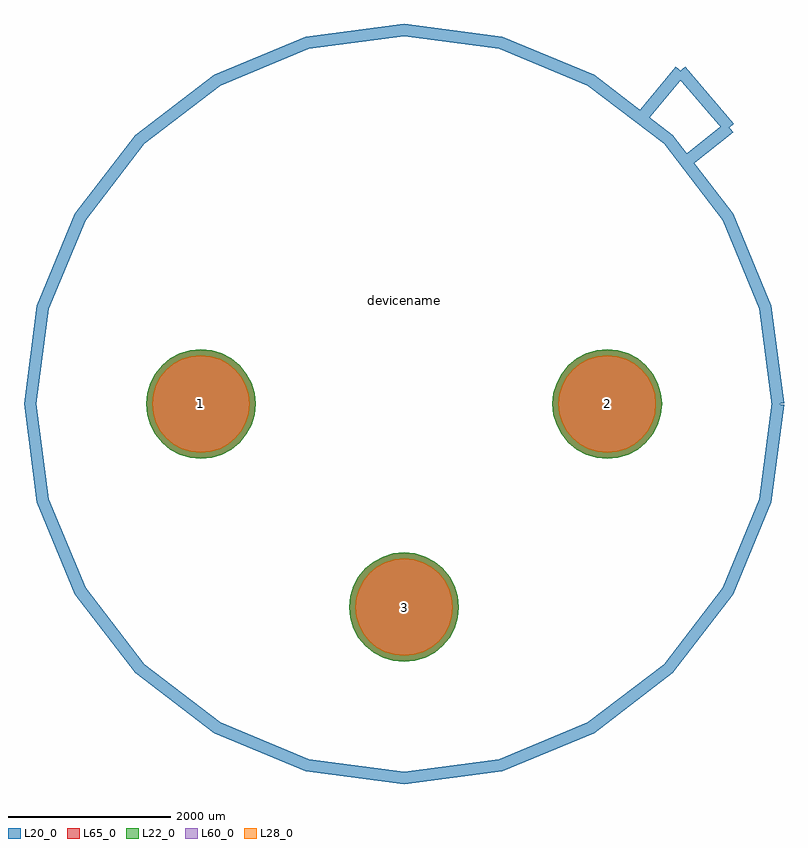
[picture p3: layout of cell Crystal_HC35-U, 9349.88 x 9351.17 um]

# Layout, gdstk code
import gdstk
lib = gdstk.Library(unit=1e-6, precision=1e-09)
def P(c, l, *ps):  # polygons
    for p in ps: c.add(gdstk.Polygon(p, *l))
L20_0 = (20, 0)
L22_0 = (22, 0)
L28_0 = (28, 0)
L60_0 = (60, 0)
L65_0 = (65, 0)

crystal_hc35_u = lib.new_cell('Crystal_HC35-U')
P(crystal_hc35_u, L22_0, [(674.44,-2499.36),(661.481,-2367.783),(623.101,-2241.263),(560.776,-2124.661),(476.901,-2022.459),(374.699,-1938.584),(258.097,-1876.259),(131.577,-1837.879),(0,-1824.92),(-131.577,-1837.879),(-258.097,-1876.259),(-374.699,-1938.584),(-476.901,-2022.459),(-560.776,-2124.661),(-623.101,-2241.263),(-661.481,-2367.783),(-674.44,-2499.36),(-661.481,-2630.937),(-623.101,-2757.457),(-560.776,-2874.059),(-476.901,-2976.261),(-374.699,-3060.136),(-258.097,-3122.461),(-131.577,-3160.841),(0,-3173.8),(131.577,-3160.841),(258.097,-3122.461),(374.699,-3060.136),(476.901,-2976.261),(560.776,-2874.059),(623.101,-2757.457),(661.481,-2630.937)],
  [(3173.8,0),(3160.841,131.577),(3122.461,258.097),(3060.136,374.699),(2976.261,476.901),(2874.059,560.776),(2757.457,623.101),(2630.937,661.481),(2499.36,674.44),(2367.783,661.481),(2241.263,623.101),(2124.661,560.776),(2022.459,476.901),(1938.584,374.699),(1876.259,258.097),(1837.879,131.577),(1824.92,0),(1837.879,-131.577),(1876.259,-258.097),(1938.584,-374.699),(2022.459,-476.901),(2124.661,-560.776),(2241.263,-623.101),(2367.783,-661.481),(2499.36,-674.44),(2630.937,-661.481),(2757.457,-623.101),(2874.059,-560.776),(2976.261,-476.901),(3060.136,-374.699),(3122.461,-258.097),(3160.841,-131.577)],
  [(-1824.92,0),(-1837.879,131.577),(-1876.259,258.097),(-1938.584,374.699),(-2022.459,476.901),(-2124.661,560.776),(-2241.263,623.101),(-2367.783,661.481),(-2499.36,674.44),(-2630.937,661.481),(-2757.457,623.101),(-2874.059,560.776),(-2976.261,476.901),(-3060.136,374.699),(-3122.461,258.097),(-3160.841,131.577),(-3173.8,0),(-3160.841,-131.577),(-3122.461,-258.097),(-3060.136,-374.699),(-2976.261,-476.901),(-2874.059,-560.776),(-2757.457,-623.101),(-2630.937,-661.481),(-2499.36,-674.44),(-2367.783,-661.481),(-2241.263,-623.101),(-2124.661,-560.776),(-2022.459,-476.901),(-1938.584,-374.699),(-1876.259,-258.097),(-1837.879,-131.577)])
P(crystal_hc35_u, L28_0, [(599.44,-2499.36),(587.922,-2382.415),(553.81,-2269.964),(498.416,-2166.329),(423.868,-2075.492),(333.031,-2000.944),(229.396,-1945.55),(116.945,-1911.438),(0,-1899.92),(-116.945,-1911.438),(-229.396,-1945.55),(-333.031,-2000.944),(-423.868,-2075.492),(-498.416,-2166.329),(-553.81,-2269.964),(-587.922,-2382.415),(-599.44,-2499.36),(-587.922,-2616.305),(-553.81,-2728.756),(-498.416,-2832.391),(-423.868,-2923.228),(-333.031,-2997.776),(-229.396,-3053.17),(-116.945,-3087.282),(0,-3098.8),(116.945,-3087.282),(229.396,-3053.17),(333.031,-2997.776),(423.868,-2923.228),(498.416,-2832.391),(553.81,-2728.756),(587.922,-2616.305)],
  [(3098.8,0),(3087.282,116.945),(3053.17,229.396),(2997.776,333.031),(2923.228,423.868),(2832.391,498.416),(2728.756,553.81),(2616.305,587.922),(2499.36,599.44),(2382.415,587.922),(2269.964,553.81),(2166.329,498.416),(2075.492,423.868),(2000.944,333.031),(1945.55,229.396),(1911.438,116.945),(1899.92,0),(1911.438,-116.945),(1945.55,-229.396),(2000.944,-333.031),(2075.492,-423.868),(2166.329,-498.416),(2269.964,-553.81),(2382.415,-587.922),(2499.36,-599.44),(2616.305,-587.922),(2728.756,-553.81),(2832.391,-498.416),(2923.228,-423.868),(2997.776,-333.031),(3053.17,-229.396),(3087.282,-116.945)],
  [(-1899.92,0),(-1911.438,116.945),(-1945.55,229.396),(-2000.944,333.031),(-2075.492,423.868),(-2166.329,498.416),(-2269.964,553.81),(-2382.415,587.922),(-2499.36,599.44),(-2616.305,587.922),(-2728.756,553.81),(-2832.391,498.416),(-2923.228,423.868),(-2997.776,333.031),(-3053.17,229.396),(-3087.282,116.945),(-3098.8,0),(-3087.282,-116.945),(-3053.17,-229.396),(-2997.776,-333.031),(-2923.228,-423.868),(-2832.391,-498.416),(-2728.756,-553.81),(-2616.305,-587.922),(-2499.36,-599.44),(-2382.415,-587.922),(-2269.964,-553.81),(-2166.329,-498.416),(-2075.492,-423.868),(-2000.944,-333.031),(-1945.55,-229.396),(-1911.438,-116.945)])
P(crystal_hc35_u, L60_0, [(599.44,-2499.36),(587.922,-2382.415),(553.81,-2269.964),(498.416,-2166.329),(423.868,-2075.492),(333.031,-2000.944),(229.396,-1945.55),(116.945,-1911.438),(0,-1899.92),(-116.945,-1911.438),(-229.396,-1945.55),(-333.031,-2000.944),(-423.868,-2075.492),(-498.416,-2166.329),(-553.81,-2269.964),(-587.922,-2382.415),(-599.44,-2499.36),(-587.922,-2616.305),(-553.81,-2728.756),(-498.416,-2832.391),(-423.868,-2923.228),(-333.031,-2997.776),(-229.396,-3053.17),(-116.945,-3087.282),(0,-3098.8),(116.945,-3087.282),(229.396,-3053.17),(333.031,-2997.776),(423.868,-2923.228),(498.416,-2832.391),(553.81,-2728.756),(587.922,-2616.305)],
  [(3098.8,0),(3087.282,116.945),(3053.17,229.396),(2997.776,333.031),(2923.228,423.868),(2832.391,498.416),(2728.756,553.81),(2616.305,587.922),(2499.36,599.44),(2382.415,587.922),(2269.964,553.81),(2166.329,498.416),(2075.492,423.868),(2000.944,333.031),(1945.55,229.396),(1911.438,116.945),(1899.92,0),(1911.438,-116.945),(1945.55,-229.396),(2000.944,-333.031),(2075.492,-423.868),(2166.329,-498.416),(2269.964,-553.81),(2382.415,-587.922),(2499.36,-599.44),(2616.305,-587.922),(2728.756,-553.81),(2832.391,-498.416),(2923.228,-423.868),(2997.776,-333.031),(3053.17,-229.396),(3087.282,-116.945)],
  [(-1899.92,0),(-1911.438,116.945),(-1945.55,229.396),(-2000.944,333.031),(-2075.492,423.868),(-2166.329,498.416),(-2269.964,553.81),(-2382.415,587.922),(-2499.36,599.44),(-2616.305,587.922),(-2728.756,553.81),(-2832.391,498.416),(-2923.228,423.868),(-2997.776,333.031),(-3053.17,229.396),(-3087.282,116.945),(-3098.8,0),(-3087.282,-116.945),(-3053.17,-229.396),(-2997.776,-333.031),(-2923.228,-423.868),(-2832.391,-498.416),(-2728.756,-553.81),(-2616.305,-587.922),(-2499.36,-599.44),(-2382.415,-587.922),(-2269.964,-553.81),(-2166.329,-498.416),(-2075.492,-423.868),(-2000.944,-333.031),(-1945.55,-229.396),(-1911.438,-116.945)])
P(crystal_hc35_u, L65_0, [(674.44,-2499.36),(661.481,-2367.783),(623.101,-2241.263),(560.776,-2124.661),(476.901,-2022.459),(374.699,-1938.584),(258.097,-1876.259),(131.577,-1837.879),(0,-1824.92),(-131.577,-1837.879),(-258.097,-1876.259),(-374.699,-1938.584),(-476.901,-2022.459),(-560.776,-2124.661),(-623.101,-2241.263),(-661.481,-2367.783),(-674.44,-2499.36),(-661.481,-2630.937),(-623.101,-2757.457),(-560.776,-2874.059),(-476.901,-2976.261),(-374.699,-3060.136),(-258.097,-3122.461),(-131.577,-3160.841),(0,-3173.8),(131.577,-3160.841),(258.097,-3122.461),(374.699,-3060.136),(476.901,-2976.261),(560.776,-2874.059),(623.101,-2757.457),(661.481,-2630.937)],
  [(3173.8,0),(3160.841,131.577),(3122.461,258.097),(3060.136,374.699),(2976.261,476.901),(2874.059,560.776),(2757.457,623.101),(2630.937,661.481),(2499.36,674.44),(2367.783,661.481),(2241.263,623.101),(2124.661,560.776),(2022.459,476.901),(1938.584,374.699),(1876.259,258.097),(1837.879,131.577),(1824.92,0),(1837.879,-131.577),(1876.259,-258.097),(1938.584,-374.699),(2022.459,-476.901),(2124.661,-560.776),(2241.263,-623.101),(2367.783,-661.481),(2499.36,-674.44),(2630.937,-661.481),(2757.457,-623.101),(2874.059,-560.776),(2976.261,-476.901),(3060.136,-374.699),(3122.461,-258.097),(3160.841,-131.577)],
  [(-1824.92,0),(-1837.879,131.577),(-1876.259,258.097),(-1938.584,374.699),(-2022.459,476.901),(-2124.661,560.776),(-2241.263,623.101),(-2367.783,661.481),(-2499.36,674.44),(-2630.937,661.481),(-2757.457,623.101),(-2874.059,560.776),(-2976.261,476.901),(-3060.136,374.699),(-3122.461,258.097),(-3160.841,131.577),(-3173.8,0),(-3160.841,-131.577),(-3122.461,-258.097),(-3060.136,-374.699),(-2976.261,-476.901),(-2874.059,-560.776),(-2757.457,-623.101),(-2630.937,-661.481),(-2499.36,-674.44),(-2367.783,-661.481),(-2241.263,-623.101),(-2124.661,-560.776),(-2022.459,-476.901),(-1938.584,-374.699),(-1876.259,-258.097),(-1837.879,-131.577)])
crystal_hc35_u.add(gdstk.FlexPath([(4599.94,0),(4443.201,1190.552),(3983.665,2299.97),(3252.649,3252.649),(2299.97,3983.665),(1190.552,4443.201),(0,4599.94),(-1190.552,4443.201),(-2299.97,3983.665),(-3252.649,3252.649),(-3983.665,2299.97),(-4443.201,1190.552),(-4599.94,0),(-4443.201,-1190.552),(-3983.665,-2299.97),(-3252.649,-3252.649),(-2299.97,-3983.665),(-1190.552,-4443.201),(0,-4599.94),(1190.552,-4443.201),(2299.97,-3983.665),(3252.649,-3252.649),(3983.665,-2299.97),(4443.201,-1190.552),(4599.94,0)], 149.998, ends="flush", simple_path=True, layer=20, datatype=0))  # L20_0
crystal_hc35_u.add(gdstk.FlexPath([(4000.5,3401.06),(3500.12,2999.74)], 149.998, ends="flush", simple_path=True, layer=20, datatype=0))  # L20_0
crystal_hc35_u.add(gdstk.FlexPath([(3401.06,4099.56),(4000.5,3401.06)], 149.998, ends="flush", simple_path=True, layer=20, datatype=0))  # L20_0
crystal_hc35_u.add(gdstk.FlexPath([(2900.68,3500.12),(3401.06,4099.56)], 149.998, ends="flush", simple_path=True, layer=20, datatype=0))  # L20_0
crystal_hc35_u.add(gdstk.Label('3', (0,-2499.36), layer=28, texttype=0))
crystal_hc35_u.add(gdstk.Label('2', (2499.36,0), layer=28, texttype=0))
crystal_hc35_u.add(gdstk.Label('1', (-2499.36,0), layer=28, texttype=0))
crystal_hc35_u.add(gdstk.Label('type', (99.06,-7350.76), layer=9, texttype=0))
crystal_hc35_u.add(gdstk.Label('devicename', (0,1270), layer=9, texttype=0))

lib.write_gds('Crystal_HC35-U.gds')
